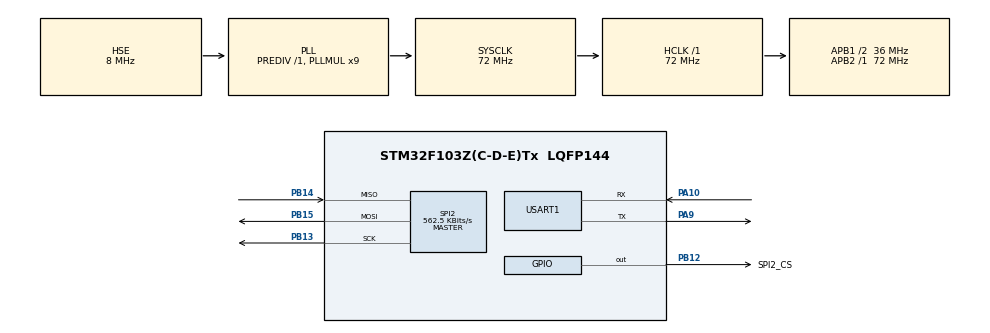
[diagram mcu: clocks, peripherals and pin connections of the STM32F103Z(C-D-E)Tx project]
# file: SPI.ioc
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Mcu.Family=STM32F1
Mcu.Name=STM32F103Z(C-D-E)Tx
Mcu.Package=LQFP144
NVIC.PriorityGroup=NVIC_PRIORITYGROUP_4
OSC_IN.Mode=HSE-External-Oscillator
OSC_IN.Signal=RCC_OSC_IN
OSC_OUT.Mode=HSE-External-Oscillator
OSC_OUT.Signal=RCC_OSC_OUT
PA10.Mode=Asynchronous
PA10.Signal=USART1_RX
PA9.Mode=Asynchronous
PA9.Signal=USART1_TX
PB12.GPIO_Label=SPI2_CS
PB12.Signal=GPIO_Output
PB13.Mode=Full_Duplex_Master
PB13.Signal=SPI2_SCK
PB14.Mode=Full_Duplex_Master
PB14.Signal=SPI2_MISO
PB15.Mode=Full_Duplex_Master
PB15.Signal=SPI2_MOSI
ProjectManager.HeapSize=0x200
ProjectManager.StackSize=0x400
ProjectManager.TargetToolchain=MDK-ARM V5
RCC.AHBFreq_Value=72000000
RCC.APB1CLKDivider=RCC_HCLK_DIV2
RCC.APB1Freq_Value=36000000
RCC.APB1TimFreq_Value=72000000
RCC.APB2Freq_Value=72000000
RCC.APB2TimFreq_Value=72000000
RCC.EnbaleCSS=true
RCC.HCLKFreq_Value=72000000
RCC.PLLMUL=RCC_PLL_MUL9
RCC.PLLSourceVirtual=RCC_PLLSOURCE_HSE
RCC.SYSCLKFreq_VALUE=72000000
RCC.SYSCLKSource=RCC_SYSCLKSOURCE_PLLCLK
RCC.USBFreq_Value=72000000
SPI2.BaudRatePrescaler=SPI_BAUDRATEPRESCALER_64
SPI2.CalculateBaudRate=562.5 KBits/s
SPI2.Direction=SPI_DIRECTION_2LINES
SPI2.Mode=SPI_MODE_MASTER
SPI2.VirtualType=VM_MASTER
USART1.VirtualMode=VM_ASYNC
VP_SYS_VS_ND.Mode=No_Debug
board=custom

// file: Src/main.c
/* USER CODE BEGIN Header */
/**
  ******************************************************************************
  * @file           : main.c
  * @brief          : Main program body
  ******************************************************************************
  * @attention
  *
  * <h2><center>&copy; Copyright (c) 2020 STMicroelectronics.
  * All rights reserved.</center></h2>
  *
  * This software component is licensed by ST under BSD 3-Clause license,
  * the "License"; You may not use this file except in compliance with the
  * License. You may obtain a copy of the License at:
  *                        opensource.org/licenses/BSD-3-Clause
  *
  ******************************************************************************
  */
/* USER CODE END Header */

#include "main.h"
#include "spi.h"
#include "usart.h"
#include "gpio.h"

/* USER CODE BEGIN Includes */
#include "W25QXX.h"
/* USER CODE END Includes */

/* USER CODE BEGIN PTD */

uint8_t wData[0x100];

uint8_t rData[0x100];

uint32_t i;

uint8_t ID[2];

/* USER CODE END PTD */

/* USER CODE BEGIN PD */
/**
  * 函数功能: 重定向c库函数printf到DEBUG_USARTx
  * 输入参数: 无
  * 返 回 值: 无
  * 说    明：无
  */

/* USER CODE END PD */

void SystemClock_Config(void);

int main(void)
{

  /* MCU Configuration--------------------------------------------------------*/

  /* Reset of all peripherals, Initializes the Flash interface and the Systick. */
  HAL_Init();

  /* Configure the system clock */
  SystemClock_Config();

  /* Initialize all configured peripherals */
  MX_GPIO_Init();
  MX_SPI2_Init();
  MX_USART1_UART_Init();
  /* USER CODE BEGIN 2 */

/* USER CODE BEGIN 2 */

  printf("\r\n SPI-W25Qxxx Example \r\n\r\n");

  /*##-1- Read the device ID  ########################*/

  BSP_W25Qx_Init();

  BSP_W25Qx_Read_ID(ID);

  printf(" W25Qxxx ID is : 0x%02X 0x%02X \r\n\r\n",ID[0],ID[1]);

  /*##-2- Erase Block ##################################*/

  if(BSP_W25Qx_Erase_Block(0) == W25Qx_OK)

      printf(" SPI Erase Block ok\r\n");

  else

      Error_Handler();

  /*##-3- Written to the flash ########################*/

  /* fill buffer */

  for(i =0;i<0x100;i ++)

  {

          wData[i] = i;

        rData[i] = 0;

  }

  if(BSP_W25Qx_Write(wData,0x00,0x100)== W25Qx_OK)

      printf(" SPI Write ok\r\n");

  else

      Error_Handler();

  /*##-4- Read the flash     ########################*/

  if(BSP_W25Qx_Read(rData,0x00,0x100)== W25Qx_OK)

      printf(" SPI Read ok\r\n\r\n");

  else

      Error_Handler();

  printf("SPI Read Data : \r\n");

  for(i =0;i<0x100;i++)

      printf("0x%02X  ",rData[i]);

  printf("\r\n\r\n");

  /*##-5- check date          ########################*/

  if(memcmp(wData,rData,0x100) == 0 )

      printf(" W25Q128FV SPI Test OK\r\n");

  else

      printf(" W25Q128FV SPI Test False\r\n");

  /* USER CODE END 2 */

  /* Infinite loop */
  while (1)
  {

  }
}

void SystemClock_Config(void)
{
  RCC_OscInitTypeDef RCC_OscInitStruct = {0};
  RCC_ClkInitTypeDef RCC_ClkInitStruct = {0};

  /** Initializes the CPU, AHB and APB busses clocks
  */
  RCC_OscInitStruct.OscillatorType = RCC_OSCILLATORTYPE_HSE;
  RCC_OscInitStruct.HSEState = RCC_HSE_ON;
  RCC_OscInitStruct.HSEPredivValue = RCC_HSE_PREDIV_DIV1;
  RCC_OscInitStruct.HSIState = RCC_HSI_ON;
  RCC_OscInitStruct.PLL.PLLState = RCC_PLL_ON;
  RCC_OscInitStruct.PLL.PLLSource = RCC_PLLSOURCE_HSE;
  RCC_OscInitStruct.PLL.PLLMUL = RCC_PLL_MUL9;
  if (HAL_RCC_OscConfig(&RCC_OscInitStruct) != HAL_OK)
  {
    Error_Handler();
  }
  /** Initializes the CPU, AHB and APB busses clocks
  */
  RCC_ClkInitStruct.ClockType = RCC_CLOCKTYPE_HCLK|RCC_CLOCKTYPE_SYSCLK
                              |RCC_CLOCKTYPE_PCLK1|RCC_CLOCKTYPE_PCLK2;
  RCC_ClkInitStruct.SYSCLKSource = RCC_SYSCLKSOURCE_PLLCLK;
  RCC_ClkInitStruct.AHBCLKDivider = RCC_SYSCLK_DIV1;
  RCC_ClkInitStruct.APB1CLKDivider = RCC_HCLK_DIV2;
  RCC_ClkInitStruct.APB2CLKDivider = RCC_HCLK_DIV1;

  if (HAL_RCC_ClockConfig(&RCC_ClkInitStruct, FLASH_LATENCY_2) != HAL_OK)
  {
    Error_Handler();
  }
  /** Enables the Clock Security System
  */
  HAL_RCC_EnableCSS();
}

void Error_Handler(void)
{
}

/************************ (C) COPYRIGHT STMicroelectronics *****END OF FILE****/
